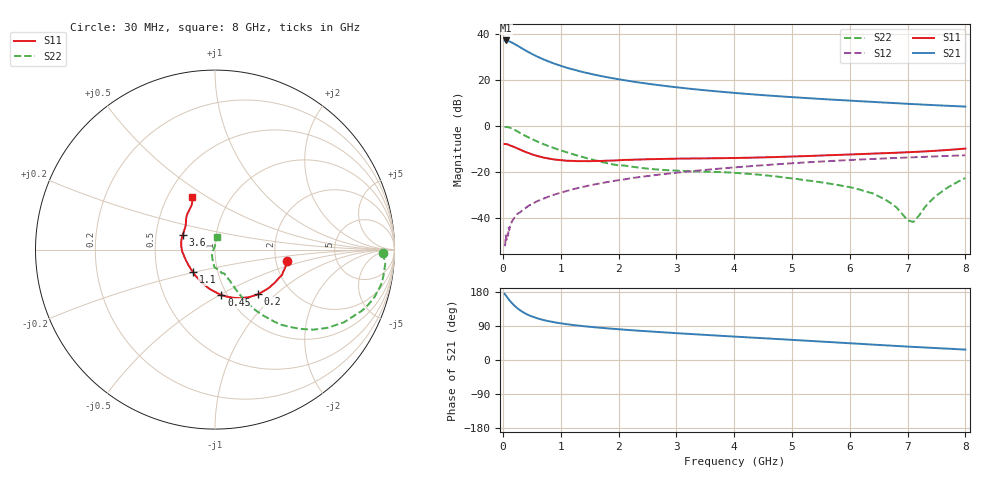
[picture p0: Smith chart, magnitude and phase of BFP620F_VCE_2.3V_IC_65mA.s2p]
! Infineon Technologies  Discrete & RF Semiconductors
! BFP620F
! VCE =  2.3 V,  IC =  65 mA
! Common Emitter S-Parameters:  Dec 2014
# GHz  S  MA  R  50
!  f  S11  S21  S12  S22
! GHz  MAG  ANG  MAG  ANG  MAG  ANG  MAG  ANG
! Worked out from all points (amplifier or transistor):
!   95 points, 30 MHz to 8 GHz, reference 50 ohm
!   highest |S21| = 37.3 dB at 50 MHz (marker M1)
!   |S21| within 3 dB of that: start of sweep to 301.2 MHz
!   unconditionally stable (mu >= 1): 1.679 GHz to end of sweep
!   at 300 MHz: K = 0.55, MSG = 35.9 dB, |S12| = -37.6 dB
!   at 3.3 GHz: K = 1.04, MAG = 16.7 dB, |S12| = -19.6 dB
!   at 8 GHz: K = 1.05, MAG = 9.2 dB, |S12| = -12.8 dB
!   S11 on the Smith chart (normalised r, x): 30 MHz: 2.29, -0.34; 200 MHz: 1.38, -0.78; 450 MHz: 0.94, -0.51; 1.1 GHz: 0.76, -0.19; 3.6 GHz: 0.69, +0.12; 8 GHz: 0.66, +0.44
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0.03  0.4044 -8.9  73.05 174.9  0.0024 93.4  0.9346 -1.1
0.05  0.4048 -12.9  73.17 170.6  0.0041 109.4  0.9517 -4.8
0.08  0.3997 -20.6  72.14 164.2  0.0044 93.8  0.9479 -11.1
0.12  0.3786 -30.1  68.89 156.5  0.0061 79.7  0.9179 -18.1
0.15  0.3669 -36.1  66.38 151.3  0.008 83.6  0.8854 -22.7
0.2  0.3462 -46.0  61.39 143.5  0.0101 76.0  0.8248 -29.4
0.25  0.3254 -54.7  56.57 136.7  0.0121 75.5  0.7638 -34.8
0.3  0.305 -62.4  51.91 130.9  0.0132 74.7  0.7047 -39.3
0.35  0.2857 -69.8  47.55 126.1  0.015 73.3  0.65 -42.8
0.45  0.2562 -82.0  40.4 118.2  0.0184 73.8  0.5597 -48.5
0.6  0.2211 -97.9  32.33 109.8  0.0231 72.9  0.4552 -53.8
0.7  0.2054 -106.4  28.4 105.6  0.026 72.9  0.4033 -56.4
0.9  0.1852 -121.8  22.63 99.3  0.0322 72.7  0.3245 -59.7
1.1  0.175 -134.7  18.73 94.6  0.0382 72.2  0.2675 -61.9
1.4  0.1718 -150.4  14.84 89.2  0.0475 71.0  0.2073 -64.0
1.9  0.1764 -169.6  10.98 82.4  0.0628 69.2  0.1455 -68.6
2.7  0.1908 171.0  7.754 73.8  0.087 64.7  0.1121 -81.2
3.6  0.1975 155.5  5.839 65.4  0.1133 59.3  0.1002 -90.3
4.1  0.2017 148.4  5.145 61.0  0.1278 56.2  0.0937 -92.7
5.4  0.2245 136.1  3.955 49.6  0.1651 47.6  0.062 -101.4
6.7  0.2581 124.9  3.19 38.0  0.1984 38.4  0.0212 -132.4
8  0.322 113.3  2.648 27.4  0.2298 29.6  0.0733 81.8
